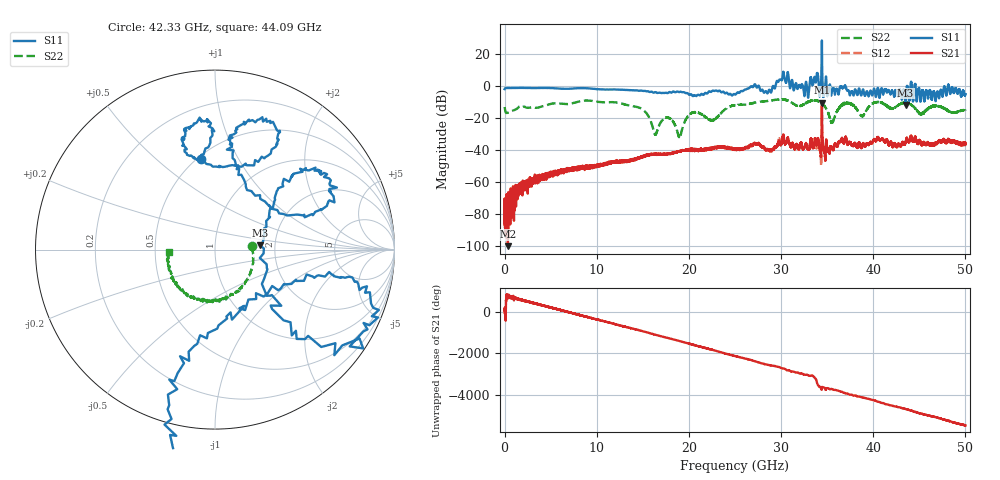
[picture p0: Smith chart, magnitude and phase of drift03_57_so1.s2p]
!Created with skrf (http://scikit-rf.org).
# Hz S RI R 50.0
!freq ReS11 ImS11 ReS21 ImS21 ReS12 ImS12 ReS22 ImS22
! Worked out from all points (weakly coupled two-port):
!   10000 points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, 5.3 MHz to 50 GHz, reference 50 ohm
!   highest |S21| = -10.51 dB at 34.43 GHz (marker M1); lowest = -100.2 dB at 360.3 MHz (marker M2)
!   lowest |S11| = -12.0 dB at 43.52 GHz (marker M3), VSWR 1.68, Z = 83.5 + j4.3 ohm
!   |S11| at or under -10 dB: 43.48902 GHz to 43.54806 GHz (59.04 MHz wide, 0.136 % of centre)
!   |S22| runs from -32.5 to -8.4 dB; largest |S21 - S12| = 0.094
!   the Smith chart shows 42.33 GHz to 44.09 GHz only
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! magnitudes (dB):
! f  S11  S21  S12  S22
! 5.3 MHz  -2.1  -75.5  -71.0  -13.3
! 360.3 MHz  -1.4  -100.2  -69.2  -16.8
! 3.21 GHz  -1.4  -58.8  -59.6  -13.6
! 8.34 GHz  -1.5  -51.2  -51.6  -9.5
! 14.57 GHz  -3.1  -44.7  -44.8  -13.6
! 16.67 GHz  -4.4  -42.7  -42.5  -26.3
! 17.8 GHz  -4.2  -42.5  -42.5  -20.0
! 19 GHz  -3.9  -41.0  -41.0  -32.3
! 20.3 GHz  -5.6  -40.4  -40.1  -17.0
! 22.56 GHz  -3.1  -39.1  -38.9  -21.5
! 25.01 GHz  -5.5  -39.7  -39.9  -12.1
! 28.72 GHz  -2.5  -40.1  -40.4  -9.4
! 30.14 GHz  4.5  -33.6  -33.8  -8.5
! 32.74 GHz  2.0  -37.0  -36.5  -10.6
! 33.34 GHz  2.6  -35.1  -35.3  -9.3
! 34.43 GHz  28.3  -10.5  -12.9  -10.9
! 35.54 GHz  -3.1  -38.8  -38.9  -22.9
! 36.95 GHz  0.2  -33.0  -33.1  -11.2
! 38.78 GHz  -4.9  -37.7  -37.8  -19.0
! 41.67 GHz  -2.9  -36.5  -36.8  -13.4
! 43.52 GHz  -12.0  -35.0  -35.1  -10.8
! 50 GHz  -5.2  -35.7  -36.2  -15.6
